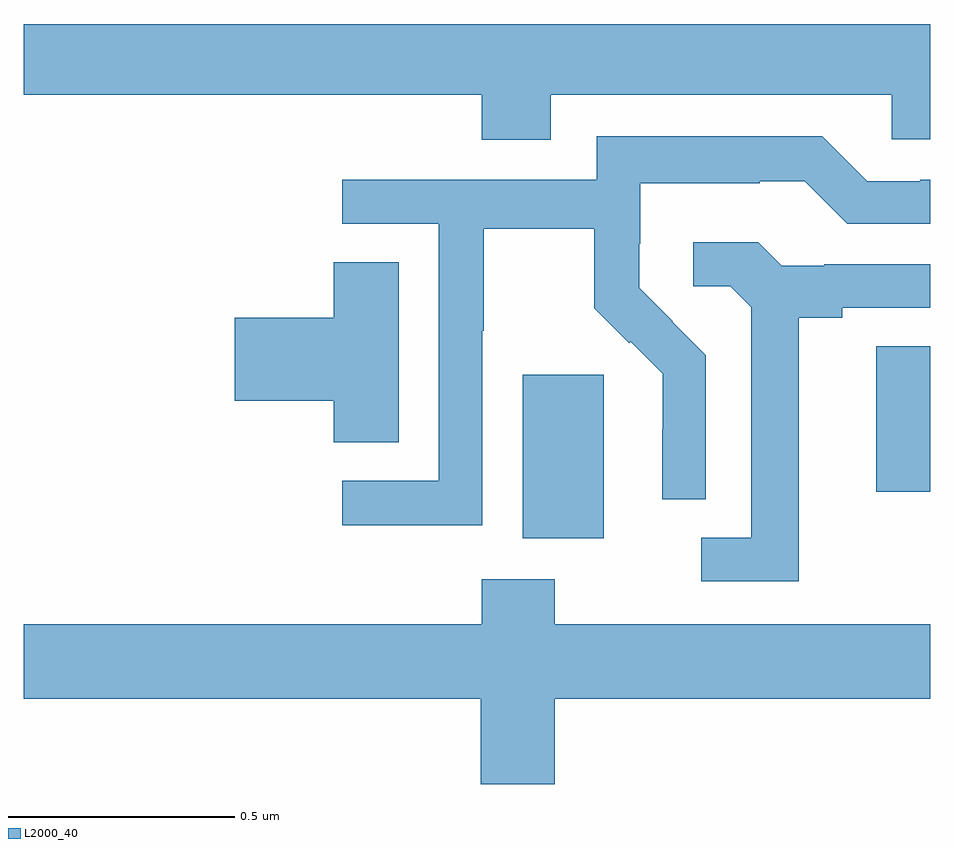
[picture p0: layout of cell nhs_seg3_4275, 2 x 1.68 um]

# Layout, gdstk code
import gdstk
lib = gdstk.Library(unit=1e-6, precision=1e-09)
def R(c, l, rs):  # rectangles x0, y0, x1, y1
    for r in rs: c.add(gdstk.rectangle(r[:2], r[2:], *l))
def P(c, l, *ps):  # polygons
    for p in ps: c.add(gdstk.Polygon(p, *l))
L2000_40 = (2000, 40)

nhs_seg3_4275 = lib.new_cell('nhs_seg3_4275')
R(nhs_seg3_4275, L2000_40, [(165.101,705.266,165.28,705.627), (165.881,705.369,166,705.689)])
P(nhs_seg3_4275, L2000_40, [(165.163,706.244),(165.915,706.244),(165.915,706.146),(166,706.146),(166,706.4),(164,706.4),(164,706.244),(165.011,706.244),(165.011,706.145),(165.163,706.145)],
  [(165.012,705.724),(165.015,705.724),(165.015,705.948),(165.259,705.948),(165.259,705.773),(165.336,705.696),(165.339,705.699),(165.41,705.629),(165.41,705.506),(165.408,705.506),(165.408,705.352),(165.504,705.352),(165.504,705.67),(165.431,705.743),(165.432,705.744),(165.358,705.818),(165.358,705.915),(165.36,705.915),(165.36,706.049),(165.623,706.049),(165.623,706.053),(165.723,706.053),(165.816,705.96),(166,705.96),(166,706.056),(165.977,706.056),(165.977,706.053),(165.861,706.053),(165.761,706.153),(165.264,706.153),(165.264,706.056),(164.703,706.056),(164.703,705.96),(164.916,705.96),(164.916,705.393),(164.703,705.393),(164.703,705.295),(165.012,705.295)],
  [(165.709,705.752),(165.805,705.752),(165.805,705.774),(166,705.774),(166,705.87),(165.766,705.87),(165.766,705.867),(165.672,705.867),(165.62,705.919),(165.477,705.919),(165.477,705.822),(165.558,705.822),(165.605,705.775),(165.605,705.267),(165.495,705.267),(165.495,705.171),(165.709,705.171)],
  [(164.827,705.875),(164.684,705.875),(164.684,705.752),(164.466,705.752),(164.466,705.569),(164.684,705.569),(164.684,705.478),(164.827,705.478)],
  [(165.172,704.912),(166,704.912),(166,705.076),(165.171,705.076),(165.171,705.175),(165.011,705.175),(165.011,705.076),(164,705.076),(164,704.912),(165.008,704.912),(165.008,704.724),(165.172,704.724)])

lib.write_gds('nhs_seg3_4275.gds')
